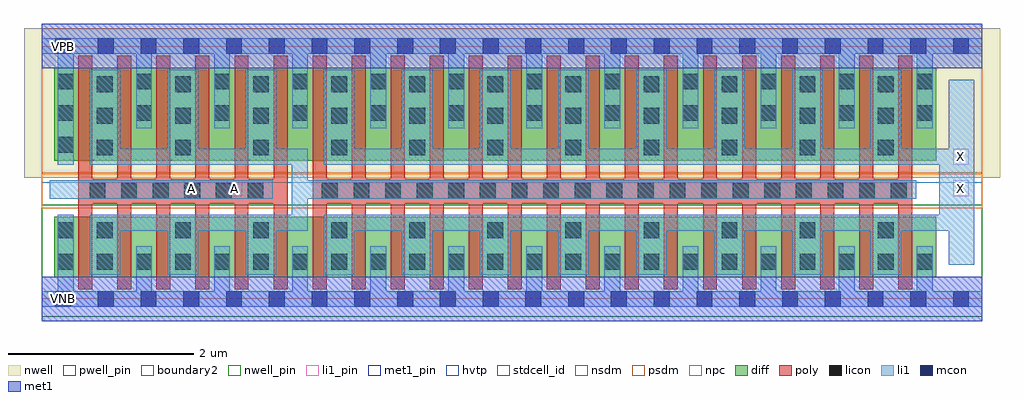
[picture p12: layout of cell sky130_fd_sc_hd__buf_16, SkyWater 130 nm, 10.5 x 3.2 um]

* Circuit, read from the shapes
.subckt sky130_fd_sc_hd__buf_16 A VGND VNB VPB VPWR X
XM1 n1 A VGND VNB sky130_fd_pr__nfet_01v8 w=0.65 l=0.15 m=6
XM2 X n1 VGND VNB sky130_fd_pr__nfet_01v8 w=0.65 l=0.15 m=16
XM3 n1 A VPWR VPB sky130_fd_pr__pfet_01v8_hvt w=1 l=0.15 m=6
XM4 X n1 VPWR VPB sky130_fd_pr__pfet_01v8_hvt w=1 l=0.15 m=16
.ends

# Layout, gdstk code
import gdstk
lib = gdstk.Library(unit=1e-6, precision=1e-09)
def R(c, l, rs):  # rectangles x0, y0, x1, y1
    for r in rs: c.add(gdstk.rectangle(r[:2], r[2:], *l))
def A(c, l, x, y, w, h, nx, ny, dx, dy):  # array of equal rectangles
    R(c, l, [(x+i*dx, y+j*dy, x+i*dx+w, y+j*dy+h) for i in range(nx) for j in range(ny)])
def P(c, l, *ps):  # polygons
    for p in ps: c.add(gdstk.Polygon(p, *l))
nwell_pin = (64, 16)
nwell = (64, 20)
diff = (65, 20)
poly = (66, 20)
licon = (66, 44)
li1_pin = (67, 16)
li1 = (67, 20)
mcon = (67, 44)
met1_pin = (68, 16)
met1 = (68, 20)
hvtp = (78, 44)
stdcell_id = (81, 4)
nsdm = (93, 44)
psdm = (94, 20)
npc = (95, 20)
pwell_pin = (122, 16)
boundary2 = (236, 0)

sky130_fd_sc_hd__buf_16 = lib.new_cell('sky130_fd_sc_hd__buf_16')
R(sky130_fd_sc_hd__buf_16, nwell_pin, [(0.15,2.635,0.32,2.805)])
R(sky130_fd_sc_hd__buf_16, nwell, [(-0.19,1.305,10.31,2.91)])
R(sky130_fd_sc_hd__buf_16, diff, [(0.135,0.235,9.625,0.885), (0.135,1.485,9.625,2.485)])
P(sky130_fd_sc_hd__buf_16, poly, [(0.395,0.105),(0.395,2.615),(0.545,2.615),(0.545,1.295),(0.815,1.295),(0.815,2.615),(0.965,2.615),(0.965,1.295),(1.235,1.295),(1.235,2.615),(1.385,2.615),(1.385,1.295),(1.655,1.295),(1.655,2.615),(1.805,2.615),(1.805,1.295),(2.075,1.295),(2.075,2.615),(2.225,2.615),(2.225,1.295),(2.495,1.295),(2.495,2.615),(2.645,2.615),(2.645,0.105),(2.495,0.105),(2.495,1.025),(2.225,1.025),(2.225,0.105),(2.075,0.105),(2.075,1.025),(1.805,1.025),(1.805,0.105),(1.655,0.105),(1.655,1.025),(1.385,1.025),(1.385,0.105),(1.235,0.105),(1.235,1.025),(0.965,1.025),(0.965,0.105),(0.815,0.105),(0.815,1.025),(0.545,1.025),(0.545,0.105)],
  [(2.915,0.105),(2.915,2.615),(3.065,2.615),(3.065,1.295),(3.335,1.295),(3.335,2.615),(3.485,2.615),(3.485,1.295),(3.755,1.295),(3.755,2.615),(3.905,2.615),(3.905,1.295),(4.175,1.295),(4.175,2.615),(4.325,2.615),(4.325,1.295),(4.595,1.295),(4.595,2.615),(4.745,2.615),(4.745,1.295),(5.015,1.295),(5.015,2.615),(5.165,2.615),(5.165,1.295),(5.435,1.295),(5.435,2.615),(5.585,2.615),(5.585,1.295),(5.855,1.295),(5.855,2.615),(6.005,2.615),(6.005,1.295),(6.275,1.295),(6.275,2.615),(6.425,2.615),(6.425,1.295),(6.695,1.295),(6.695,2.615),(6.845,2.615),(6.845,1.295),(7.115,1.295),(7.115,2.615),(7.265,2.615),(7.265,1.295),(7.535,1.295),(7.535,2.615),(7.685,2.615),(7.685,1.295),(7.955,1.295),(7.955,2.615),(8.105,2.615),(8.105,1.295),(8.375,1.295),(8.375,2.615),(8.525,2.615),(8.525,1.295),(8.795,1.295),(8.795,2.615),(8.945,2.615),(8.945,1.295),(9.215,1.295),(9.215,2.615),(9.365,2.615),(9.365,0.105),(9.215,0.105),(9.215,1.025),(8.945,1.025),(8.945,0.105),(8.795,0.105),(8.795,1.025),(8.525,1.025),(8.525,0.105),(8.375,0.105),(8.375,1.025),(8.105,1.025),(8.105,0.105),(7.955,0.105),(7.955,1.025),(7.685,1.025),(7.685,0.105),(7.535,0.105),(7.535,1.025),(7.265,1.025),(7.265,0.105),(7.115,0.105),(7.115,1.025),(6.845,1.025),(6.845,0.105),(6.695,0.105),(6.695,1.025),(6.425,1.025),(6.425,0.105),(6.275,0.105),(6.275,1.025),(6.005,1.025),(6.005,0.105),(5.855,0.105),(5.855,1.025),(5.585,1.025),(5.585,0.105),(5.435,0.105),(5.435,1.025),(5.165,1.025),(5.165,0.105),(5.015,0.105),(5.015,1.025),(4.745,1.025),(4.745,0.105),(4.595,0.105),(4.595,1.025),(4.325,1.025),(4.325,0.105),(4.175,0.105),(4.175,1.025),(3.905,1.025),(3.905,0.105),(3.755,0.105),(3.755,1.025),(3.485,1.025),(3.485,0.105),(3.335,0.105),(3.335,1.025),(3.065,1.025),(3.065,0.105)])
A(sky130_fd_sc_hd__buf_16, licon, 0.175, 0.315, 0.17, 0.17, 23, 1, 0.42, 0)
A(sky130_fd_sc_hd__buf_16, licon, 0.595, 0.655, 0.17, 0.17, 11, 2, 0.84, 0.89)
A(sky130_fd_sc_hd__buf_16, licon, 0.515, 1.075, 0.17, 0.17, 6, 1, 0.34, 0)
A(sky130_fd_sc_hd__buf_16, licon, 3.015, 1.075, 0.17, 0.17, 19, 1, 0.34, 0)
A(sky130_fd_sc_hd__buf_16, licon, 0.595, 1.885, 0.17, 0.17, 11, 2, 0.84, 0.34)
A(sky130_fd_sc_hd__buf_16, licon, 0.175, 1.915, 0.17, 0.17, 12, 2, 0.84, 0.34)
R(sky130_fd_sc_hd__buf_16, licon, [(0.175,0.655,0.345,0.825), (0.175,1.575,0.345,1.745)])
R(sky130_fd_sc_hd__buf_16, li1_pin, [(1.53,1.105,1.7,1.275), (1.99,1.105,2.16,1.275), (9.805,1.105,9.975,1.275), (9.805,1.445,9.975,1.615)])
R(sky130_fd_sc_hd__buf_16, li1, [(0.085,1.075,2.485,1.275)])
P(sky130_fd_sc_hd__buf_16, li1, [(0,-0.085),(0,0.085),(0.175,0.085),(0.175,0.905),(0.345,0.905),(0.345,0.085),(1.015,0.085),(1.015,0.565),(1.185,0.565),(1.185,0.085),(1.855,0.085),(1.855,0.565),(2.025,0.565),(2.025,0.085),(2.695,0.085),(2.695,0.565),(2.865,0.565),(2.865,0.085),(3.535,0.085),(3.535,0.565),(3.705,0.565),(3.705,0.085),(4.375,0.085),(4.375,0.565),(4.545,0.565),(4.545,0.085),(5.215,0.085),(5.215,0.565),(5.385,0.565),(5.385,0.085),(6.055,0.085),(6.055,0.565),(6.225,0.565),(6.225,0.085),(6.895,0.085),(6.895,0.565),(7.065,0.565),(7.065,0.085),(7.735,0.085),(7.735,0.565),(7.905,0.565),(7.905,0.085),(8.575,0.085),(8.575,0.565),(8.745,0.565),(8.745,0.085),(9.415,0.085),(9.415,0.565),(9.585,0.565),(9.585,0.085),(10.12,0.085),(10.12,-0.085)],
  [(0.175,1.445),(0.175,2.635),(0,2.635),(0,2.805),(10.12,2.805),(10.12,2.635),(9.585,2.635),(9.585,1.835),(9.415,1.835),(9.415,2.635),(8.745,2.635),(8.745,1.835),(8.575,1.835),(8.575,2.635),(7.905,2.635),(7.905,1.835),(7.735,1.835),(7.735,2.635),(7.065,2.635),(7.065,1.835),(6.895,1.835),(6.895,2.635),(6.225,2.635),(6.225,1.835),(6.055,1.835),(6.055,2.635),(5.385,2.635),(5.385,1.835),(5.215,1.835),(5.215,2.635),(4.545,2.635),(4.545,1.835),(4.375,1.835),(4.375,2.635),(3.705,2.635),(3.705,1.835),(3.535,1.835),(3.535,2.635),(2.865,2.635),(2.865,1.835),(2.695,1.835),(2.695,2.635),(2.025,2.635),(2.025,1.835),(1.855,1.835),(1.855,2.635),(1.185,2.635),(1.185,1.835),(1.015,1.835),(1.015,2.635),(0.345,2.635),(0.345,1.445)],
  [(0.515,0.26),(0.515,0.905),(2.69,0.905),(2.69,1.445),(0.515,1.445),(0.515,2.465),(0.845,2.465),(0.845,1.615),(1.355,1.615),(1.355,2.465),(1.685,2.465),(1.685,1.615),(2.195,1.615),(2.195,2.465),(2.525,2.465),(2.525,1.615),(2.865,1.615),(2.865,1.275),(9.41,1.275),(9.41,1.075),(2.865,1.075),(2.865,0.735),(2.525,0.735),(2.525,0.26),(2.195,0.26),(2.195,0.735),(1.685,0.735),(1.685,0.26),(1.355,0.26),(1.355,0.735),(0.845,0.735),(0.845,0.26)],
  [(3.035,0.255),(3.035,0.905),(9.655,0.905),(9.655,1.445),(3.035,1.445),(3.035,2.465),(3.365,2.465),(3.365,1.615),(3.875,1.615),(3.875,2.465),(4.205,2.465),(4.205,1.615),(4.715,1.615),(4.715,2.465),(5.045,2.465),(5.045,1.615),(5.555,1.615),(5.555,2.465),(5.885,2.465),(5.885,1.615),(6.395,1.615),(6.395,2.465),(6.725,2.465),(6.725,1.615),(7.235,1.615),(7.235,2.465),(7.565,2.465),(7.565,1.615),(8.075,1.615),(8.075,2.465),(8.405,2.465),(8.405,1.615),(8.915,1.615),(8.915,2.465),(9.245,2.465),(9.245,1.615),(9.76,1.615),(9.76,2.36),(10.035,2.36),(10.035,0.365),(9.76,0.365),(9.76,0.735),(9.245,0.735),(9.245,0.26),(8.915,0.26),(8.915,0.735),(8.405,0.735),(8.405,0.26),(8.075,0.26),(8.075,0.735),(7.565,0.735),(7.565,0.26),(7.235,0.26),(7.235,0.735),(6.725,0.735),(6.725,0.26),(6.395,0.26),(6.395,0.735),(5.885,0.735),(5.885,0.26),(5.555,0.26),(5.555,0.735),(5.045,0.735),(5.045,0.26),(4.965,0.26),(4.965,0.255),(4.795,0.255),(4.795,0.26),(4.715,0.26),(4.715,0.735),(4.205,0.735),(4.205,0.26),(4.125,0.26),(4.125,0.255),(3.955,0.255),(3.955,0.26),(3.875,0.26),(3.875,0.735),(3.365,0.735),(3.365,0.26),(3.285,0.26),(3.285,0.255)])
A(sky130_fd_sc_hd__buf_16, mcon, 0.145, -0.085, 0.17, 0.17, 22, 2, 0.46, 2.72)
R(sky130_fd_sc_hd__buf_16, met1_pin, [(0.15,-0.085,0.32,0.085), (0.15,2.635,0.32,2.805)])
R(sky130_fd_sc_hd__buf_16, hvtp, [(0,1.25,10.12,2.72)])
R(sky130_fd_sc_hd__buf_16, stdcell_id, [(0,0,10.12,2.72)])
R(sky130_fd_sc_hd__buf_16, nsdm, [(0,-0.19,10.12,1.015)])
R(sky130_fd_sc_hd__buf_16, psdm, [(0,1.355,10.12,2.91)])
R(sky130_fd_sc_hd__buf_16, npc, [(0,0.975,10.12,1.345)])
R(sky130_fd_sc_hd__buf_16, pwell_pin, [(0.15,-0.085,0.32,0.085)])
R(sky130_fd_sc_hd__buf_16, boundary2, [(0,0,10.12,2.72)])
sky130_fd_sc_hd__buf_16.add(gdstk.FlexPath([(0,0),(10.12,0)], 0.48, ends="flush", simple_path=True, layer=68, datatype=20))  # met1
sky130_fd_sc_hd__buf_16.add(gdstk.FlexPath([(0,2.72),(10.12,2.72)], 0.48, ends="flush", simple_path=True, layer=68, datatype=20))  # met1
sky130_fd_sc_hd__buf_16.add(gdstk.Label('A', (2.075,1.19), layer=67, texttype=5))
sky130_fd_sc_hd__buf_16.add(gdstk.Label('A', (1.615,1.19), layer=67, texttype=5))
sky130_fd_sc_hd__buf_16.add(gdstk.Label('X', (9.89,1.19), layer=67, texttype=5))
sky130_fd_sc_hd__buf_16.add(gdstk.Label('X', (9.89,1.53), layer=67, texttype=5))
sky130_fd_sc_hd__buf_16.add(gdstk.Label('VNB', (0.235,0), layer=64, texttype=59))
sky130_fd_sc_hd__buf_16.add(gdstk.Label('VPB', (0.235,2.72), layer=64, texttype=5))
sky130_fd_sc_hd__buf_16.add(gdstk.Label('VGND', (0.23,0), layer=68, texttype=5))
sky130_fd_sc_hd__buf_16.add(gdstk.Label('VPWR', (0.23,2.72), layer=68, texttype=5))
sky130_fd_sc_hd__buf_16.add(gdstk.Label('buf_16', (0,0), layer=83, texttype=44))

lib.write_gds('sky130_fd_sc_hd__buf_16.gds')
